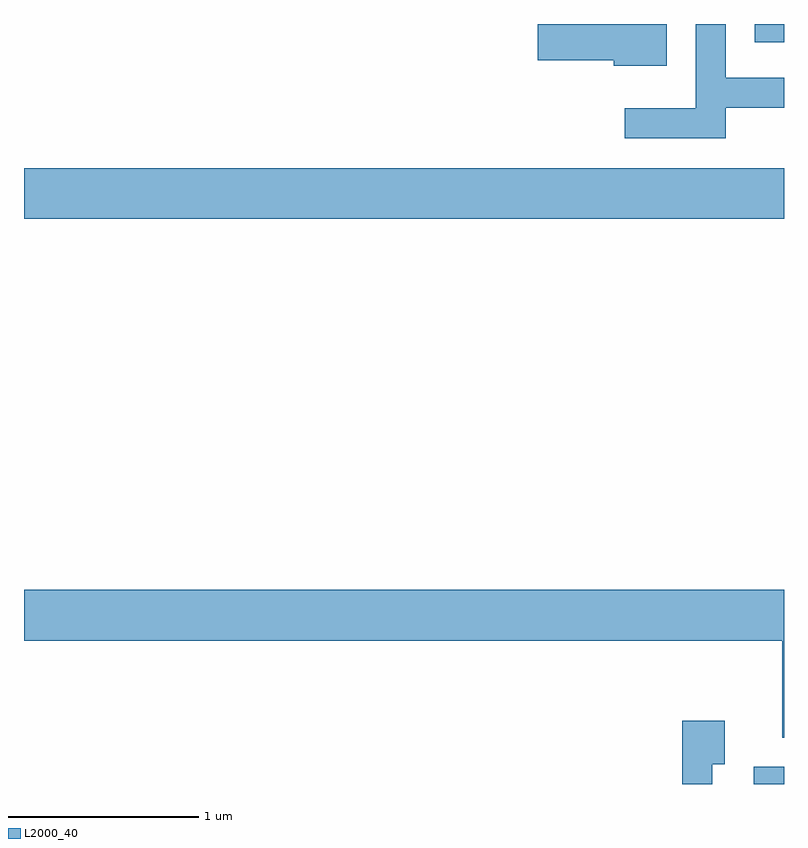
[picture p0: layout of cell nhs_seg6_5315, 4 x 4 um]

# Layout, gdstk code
import gdstk
lib = gdstk.Library(unit=1e-6, precision=1e-09)
def R(c, l, rs):  # rectangles x0, y0, x1, y1
    for r in rs: c.add(gdstk.rectangle(r[:2], r[2:], *l))
def P(c, l, *ps):  # polygons
    for p in ps: c.add(gdstk.Polygon(p, *l))
L2000_40 = (2000, 40)

nhs_seg6_5315 = lib.new_cell('nhs_seg6_5315')
R(nhs_seg6_5315, L2000_40, [(351.451,1558.162,351.611,1558.254), (347.611,1561.136,351.611,1561.404), (351.456,1562.066,351.611,1562.162)])
P(nhs_seg6_5315, L2000_40, [(350.994,1562.162),(350.316,1562.162),(350.316,1561.971),(350.716,1561.971),(350.716,1561.941),(350.994,1561.941)],
  [(351.304,1561.721),(351.611,1561.721),(351.611,1561.879),(351.304,1561.879),(351.304,1562.162),(351.146,1562.162),(351.146,1561.719),(350.773,1561.719),(350.773,1561.561),(351.304,1561.561)],
  [(351.611,1559.184),(347.611,1559.184),(347.611,1558.916),(351.601,1558.916),(351.601,1558.406),(351.611,1558.406)],
  [(351.234,1558.266),(351.299,1558.266),(351.299,1558.494),(351.076,1558.494),(351.076,1558.162),(351.234,1558.162)])

lib.write_gds('nhs_seg6_5315.gds')
